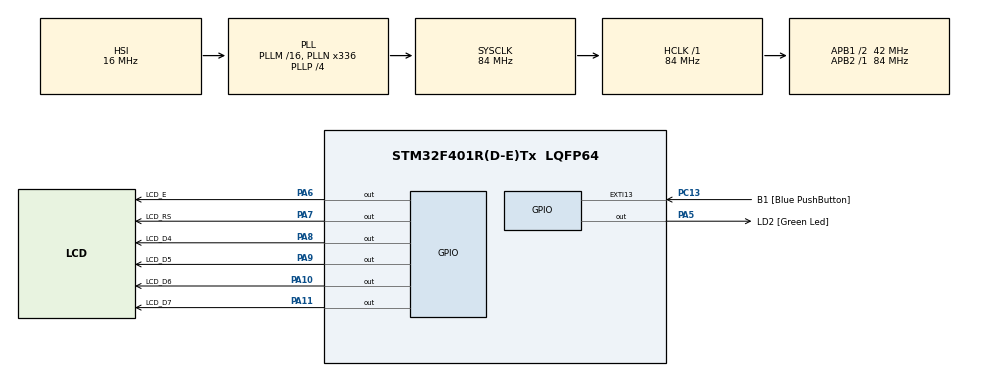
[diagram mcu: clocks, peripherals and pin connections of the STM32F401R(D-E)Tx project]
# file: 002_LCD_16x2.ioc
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Mcu.Family=STM32F4
Mcu.Name=STM32F401R(D-E)Tx
Mcu.Package=LQFP64
NVIC.PriorityGroup=NVIC_PRIORITYGROUP_0
PA10.GPIO_Label=LCD_D6
PA10.Signal=GPIO_Output
PA11.GPIO_Label=LCD_D7
PA11.Signal=GPIO_Output
PA5.GPIO_Label=LD2 [Green Led]
PA5.GPIO_Mode=GPIO_MODE_OUTPUT_PP
PA5.GPIO_PuPd=GPIO_NOPULL
PA5.GPIO_Speed=GPIO_SPEED_FREQ_LOW
PA5.Signal=GPIO_Output
PA6.GPIO_Label=LCD_E
PA6.Signal=GPIO_Output
PA7.GPIO_Label=LCD_RS
PA7.Signal=GPIO_Output
PA8.GPIO_Label=LCD_D4
PA8.Signal=GPIO_Output
PA9.GPIO_Label=LCD_D5
PA9.Signal=GPIO_Output
PC13-ANTI_TAMP.GPIO_Label=B1 [Blue PushButton]
PC13-ANTI_TAMP.GPIO_ModeDefaultEXTI=GPIO_MODE_IT_FALLING
PC13-ANTI_TAMP.GPIO_PuPd=GPIO_NOPULL
PC13-ANTI_TAMP.Signal=GPXTI13
ProjectManager.HeapSize=0x200
ProjectManager.StackSize=0x400
ProjectManager.TargetToolchain=MDK-ARM V5.27
RCC.AHBFreq_Value=84000000
RCC.APB1CLKDivider=RCC_HCLK_DIV2
RCC.APB1Freq_Value=42000000
RCC.APB1TimFreq_Value=84000000
RCC.APB2Freq_Value=84000000
RCC.APB2TimFreq_Value=84000000
RCC.CortexFreq_Value=84000000
RCC.HCLKFreq_Value=84000000
RCC.HSE_VALUE=8000000
RCC.HSI_VALUE=16000000
RCC.LSE_VALUE=32768
RCC.PLLN=336
RCC.PLLP=RCC_PLLP_DIV4
RCC.PLLQ=7
RCC.SYSCLKFreq_VALUE=84000000
RCC.SYSCLKSource=RCC_SYSCLKSOURCE_PLLCLK
RCC.VCOOutputFreq_Value=336000000
board=NUCLEO-F401RE

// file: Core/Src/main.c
/* USER CODE BEGIN Header */
/**
  ******************************************************************************
  * @file           : main.c
  * @brief          : Main program body
  ******************************************************************************
  * @attention
  *
  * <h2><center>&copy; Copyright (c) 2021 STMicroelectronics.
  * All rights reserved.</center></h2>
  *
  * This software component is licensed by ST under BSD 3-Clause license,
  * the "License"; You may not use this file except in compliance with the
  * License. You may obtain a copy of the License at:
  *                        opensource.org/licenses/BSD-3-Clause
  *
  ******************************************************************************
  */
/* USER CODE END Header */
#include "main.h"
#include "gpio.h"

/* USER CODE BEGIN Includes */

#include "lcd.h"   // to get LCD functions
#include "stdio.h" // to use sprintf function

/* USER CODE END Includes */

void SystemClock_Config(void);

int main(void)
{

  /* MCU Configuration--------------------------------------------------------*/

  /* Reset of all peripherals, Initializes the Flash interface and the Systick. */
  HAL_Init();

  /* Configure the system clock */
  SystemClock_Config();

  /* Initialize all configured peripherals */
  MX_GPIO_Init();
  /* USER CODE BEGIN 2 */

	HAL_Delay(500);  // Wait for a while to init LCD
	LCD_Init();      // init LCD
	HAL_Delay(2);		 // Wait for a while to clear LCD
	LCD_Clear();		 // Clear LCD
	HAL_Delay(500);	 // Wait before write function

	LCD_Set_Cursor(1,1);	// set cursor to initialize position on LCD
	LCD_Write_String("HELLO!");  // Write string

	LCD_Set_Cursor(2,1); 	// set cursor to second line
	LCD_Write_String("WORLD?");	// Write string

	//Write int value
	/*
	char number_array[3];              // Create an array
	uint16_t num=123;								   //	create int variable which we want to write to LCD
	sprintf(number_array,"%u",num);    // Value of num transfered to number_array
	LCD_Write_String(number_array);    // Write number_array

// For alternative way to write integer to LCD (after sprintf)
//   for(int i =0;i<3;i++){
//       LCD_Write_char(number_array[i]);
//			}
	*/

  /* USER CODE END 2 */

  /* Infinite loop */
  /* USER CODE BEGIN WHILE */
  while (1)
  {

		for(int i=0;i<8;i++){

			LCD_Shift_R();     // Shift right all writings for 8 character long
			HAL_Delay(500);	   // wait each step

		}

		for(int j=0;j<8;j++){

			LCD_Shift_L();     // Shift left all writings for 8 character long
			HAL_Delay(500);	   // wait each step

		}

    /* USER CODE END WHILE */

  }
}

void SystemClock_Config(void)
{
  RCC_OscInitTypeDef RCC_OscInitStruct = {0};
  RCC_ClkInitTypeDef RCC_ClkInitStruct = {0};

  /** Configure the main internal regulator output voltage
  */
  __HAL_RCC_PWR_CLK_ENABLE();
  __HAL_PWR_VOLTAGESCALING_CONFIG(PWR_REGULATOR_VOLTAGE_SCALE2);
  /** Initializes the RCC Oscillators according to the specified parameters
  * in the RCC_OscInitTypeDef structure.
  */
  RCC_OscInitStruct.OscillatorType = RCC_OSCILLATORTYPE_HSI;
  RCC_OscInitStruct.HSIState = RCC_HSI_ON;
  RCC_OscInitStruct.HSICalibrationValue = RCC_HSICALIBRATION_DEFAULT;
  RCC_OscInitStruct.PLL.PLLState = RCC_PLL_ON;
  RCC_OscInitStruct.PLL.PLLSource = RCC_PLLSOURCE_HSI;
  RCC_OscInitStruct.PLL.PLLM = 16;
  RCC_OscInitStruct.PLL.PLLN = 336;
  RCC_OscInitStruct.PLL.PLLP = RCC_PLLP_DIV4;
  RCC_OscInitStruct.PLL.PLLQ = 7;
  if (HAL_RCC_OscConfig(&RCC_OscInitStruct) != HAL_OK)
  {
    Error_Handler();
  }
  /** Initializes the CPU, AHB and APB buses clocks
  */
  RCC_ClkInitStruct.ClockType = RCC_CLOCKTYPE_HCLK|RCC_CLOCKTYPE_SYSCLK
                              |RCC_CLOCKTYPE_PCLK1|RCC_CLOCKTYPE_PCLK2;
  RCC_ClkInitStruct.SYSCLKSource = RCC_SYSCLKSOURCE_PLLCLK;
  RCC_ClkInitStruct.AHBCLKDivider = RCC_SYSCLK_DIV1;
  RCC_ClkInitStruct.APB1CLKDivider = RCC_HCLK_DIV2;
  RCC_ClkInitStruct.APB2CLKDivider = RCC_HCLK_DIV1;

  if (HAL_RCC_ClockConfig(&RCC_ClkInitStruct, FLASH_LATENCY_2) != HAL_OK)
  {
    Error_Handler();
  }
}

void Error_Handler(void)
{
  __disable_irq();
  while (1)
  {
  }
}

/************************ (C) COPYRIGHT STMicroelectronics *****END OF FILE****/
